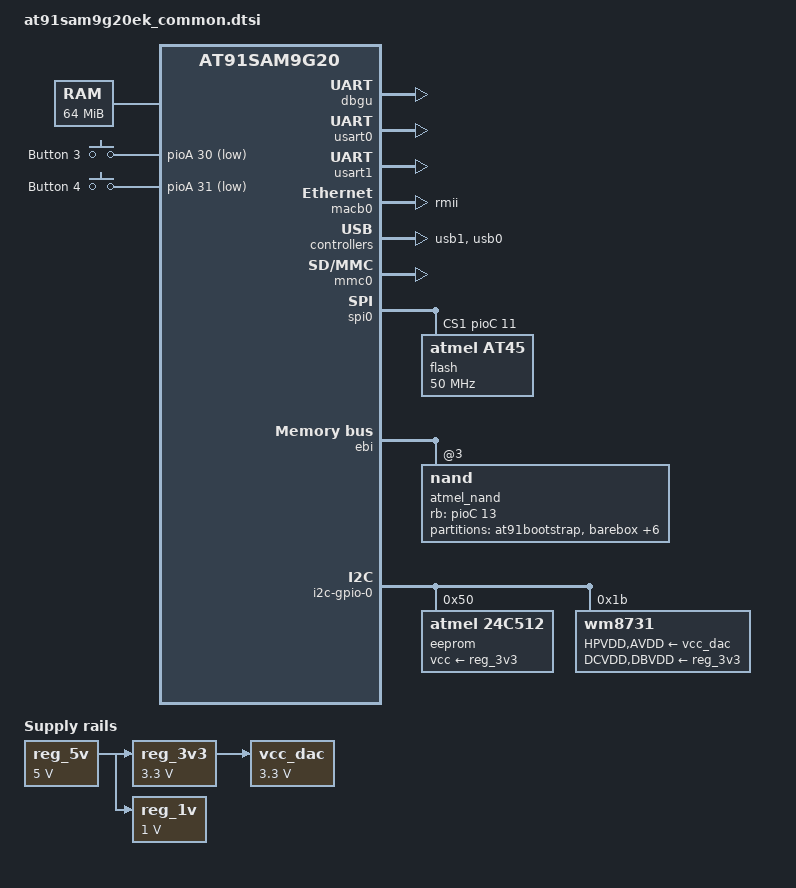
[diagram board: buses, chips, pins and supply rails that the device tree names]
// SPDX-License-Identifier: GPL-2.0-only
/*
 * at91sam9g20ek_common.dtsi - Device Tree file for Atmel at91sam9g20ek board
 *
 * Copyright (C) 2012 Jean-Christophe PLAGNIOL-VILLARD <plagnioj@jcrosoft.com>
 */
#include "at91sam9g20.dtsi"
#include <dt-bindings/input/input.h>

/ {

	chosen {
		bootargs = "mem=64M root=/dev/mtdblock5 rw rootfstype=ubifs";
		stdout-path = "serial0:115200n8";
	};

	memory@20000000 {
		reg = <0x20000000 0x4000000>;
	};

	clocks {
		slow_xtal {
			clock-frequency = <32768>;
		};

		main_xtal {
			clock-frequency = <18432000>;
		};
	};

	ahb {
		apb {
			pinctrl@fffff400 {
				board {
					pinctrl_pck0_as_mck: pck0_as_mck {
						atmel,pins =
							<AT91_PIOC 1 AT91_PERIPH_B AT91_PINCTRL_NONE>;	/* PC1 periph B */
					};

				};

				usb1 {
					pinctrl_usb1_vbus_gpio: usb1_vbus_gpio {
						atmel,pins =
							<AT91_PIOC 5 AT91_PERIPH_GPIO AT91_PINCTRL_DEGLITCH>;	/* PC5 GPIO */
					};
				};

				mmc0_slot1 {
					pinctrl_board_mmc0_slot1: mmc0_slot1-board {
						atmel,pins =
							<AT91_PIOC 9 AT91_PERIPH_GPIO AT91_PINCTRL_PULL_UP_DEGLITCH>;	/* PC9 gpio CD pin pull up and deglitch */
					};
				};
			};

			dbgu: serial@fffff200 {
				status = "okay";
			};

			tcb0: timer@fffa0000 {
				timer@0 {
					compatible = "atmel,tcb-timer";
					reg = <0>, <1>;
				};

				timer@2 {
					compatible = "atmel,tcb-timer";
					reg = <2>;
				};
			};

			usart0: serial@fffb0000 {
				pinctrl-0 =
					<&pinctrl_usart0
					 &pinctrl_usart0_rts
					 &pinctrl_usart0_cts
					 &pinctrl_usart0_dtr_dsr
					 &pinctrl_usart0_dcd
					 &pinctrl_usart0_ri>;
				status = "okay";
			};

			usart1: serial@fffb4000 {
				status = "okay";
			};

			macb0: ethernet@fffc4000 {
				phy-mode = "rmii";
				status = "okay";
			};

			usb1: gadget@fffa4000 {
				pinctrl-0 = <&pinctrl_usb1_vbus_gpio>;
				pinctrl-names = "default";
				atmel,vbus-gpio = <&pioC 5 GPIO_ACTIVE_HIGH>;
				status = "okay";
			};

			mmc0: mmc@fffa8000 {
				pinctrl-0 = <
					&pinctrl_board_mmc0_slot1
					&pinctrl_mmc0_clk
					&pinctrl_mmc0_slot1_cmd_dat0
					&pinctrl_mmc0_slot1_dat1_3>;
				pinctrl-names = "default";
				status = "okay";
				slot@1 {
					reg = <1>;
					bus-width = <4>;
					cd-gpios = <&pioC 9 GPIO_ACTIVE_HIGH>;
				};
			};

			ssc0: ssc@fffbc000 {
				status = "okay";
				pinctrl-0 = <&pinctrl_ssc0_tx>;
			};

			spi0: spi@fffc8000 {
				cs-gpios = <0>, <&pioC 11 0>, <0>, <0>;
				flash@1 {
					compatible = "atmel,at45", "atmel,dataflash";
					spi-max-frequency = <50000000>;
					reg = <1>;
				};
			};

			shdwc: poweroff@fffffd10 {
				atmel,wakeup-counter = <10>;
				atmel,wakeup-rtt-timer;
			};

			rtc@fffffd20 {
				atmel,rtt-rtc-time-reg = <&gpbr 0x0>;
				status = "okay";
			};

			watchdog@fffffd40 {
				status = "okay";
			};

			gpbr: syscon@fffffd50 {
				status = "okay";
			};
		};

		ebi: ebi@10000000 {
			status = "okay";

			nand_controller: nand-controller {
				status = "okay";
				pinctrl-0 = <&pinctrl_nand_cs &pinctrl_nand_rb>;
				pinctrl-names = "default";

				nand@3 {
					reg = <0x3 0x0 0x800000>;
					rb-gpios = <&pioC 13 GPIO_ACTIVE_HIGH>;
					cs-gpios = <&pioC 14 GPIO_ACTIVE_HIGH>;
					nand-bus-width = <8>;
					nand-ecc-mode = "soft";
					nand-on-flash-bbt;
					label = "atmel_nand";

					partitions {
						compatible = "fixed-partitions";
						#address-cells = <1>;
						#size-cells = <1>;

						at91bootstrap@0 {
							label = "at91bootstrap";
							reg = <0x0 0x20000>;
						};

						barebox@20000 {
							label = "barebox";
							reg = <0x20000 0x40000>;
						};

						bareboxenv@60000 {
							label = "bareboxenv";
							reg = <0x60000 0x20000>;
						};

						bareboxenv2@80000 {
							label = "bareboxenv2";
							reg = <0x80000 0x20000>;
						};

						oftree@80000 {
							label = "oftree";
							reg = <0xa0000 0x20000>;
						};

						kernel@a0000 {
							label = "kernel";
							reg = <0xc0000 0x400000>;
						};

						rootfs@4a0000 {
							label = "rootfs";
							reg = <0x4c0000 0x7800000>;
						};

						data@7ca0000 {
							label = "data";
							reg = <0x7cc0000 0x8340000>;
						};
					};
				};
			};
		};

		usb0: ohci@500000 {
			num-ports = <2>;
			status = "okay";
		};
	};

	i2c-gpio-0 {
		status = "okay";

		eeprom@50 {
			compatible = "atmel,24c512";
			reg = <0x50>;
			vcc-supply = <&reg_3v3>;
		};

		wm8731: wm8731@1b {
			compatible = "wm8731";
			reg = <0x1b>;

			/* PCK0 at 12MHz */
			clocks = <&pmc PMC_TYPE_SYSTEM 8>;
			clock-names = "mclk";
			assigned-clocks = <&pmc PMC_TYPE_SYSTEM 8>;
			assigned-clock-rates = <12000000>;

			HPVDD-supply = <&vcc_dac>;
			AVDD-supply = <&vcc_dac>;
			DCVDD-supply = <&reg_3v3>;
			DBVDD-supply = <&reg_3v3>;
		};
	};

	gpio-keys {
		compatible = "gpio-keys";

		button-3 {
			label = "Button 3";
			gpios = <&pioA 30 GPIO_ACTIVE_LOW>;
			linux,code = <0x103>;
			wakeup-source;
		};

		button-4 {
			label = "Button 4";
			gpios = <&pioA 31 GPIO_ACTIVE_LOW>;
			linux,code = <KEY_PROG1>;
			wakeup-source;
		};
	};

	sound {
		compatible = "atmel,at91sam9g20ek-wm8731-audio";
		pinctrl-names = "default";
		pinctrl-0 = <&pinctrl_pck0_as_mck>;

		atmel,model = "wm8731 @ AT91SAMG20EK";

		atmel,audio-routing =
			"Ext Spk", "LHPOUT",
			"Int Mic", "MICIN";

		atmel,ssc-controller = <&ssc0>;
		atmel,audio-codec = <&wm8731>;
	};

	reg_5v: fixedregulator0 {
		compatible = "regulator-fixed";
		regulator-name = "5V";
		regulator-min-microvolt = <5000000>;
		regulator-max-microvolt = <5000000>;
	};

	reg_3v3: fixedregulator1 {
		compatible = "regulator-fixed";
		regulator-name = "3V3";
		vin-supply = <&reg_5v>;
		regulator-min-microvolt = <3300000>;
		regulator-max-microvolt = <3300000>;
	};

	reg_1v: fixedregulator2 {
		compatible = "regulator-fixed";
		regulator-name = "1V";
		vin-supply = <&reg_5v>;
		regulator-min-microvolt = <1000000>;
		regulator-max-microvolt = <1000000>;
	};

	vcc_dac: fixedregulator3 {
		compatible = "regulator-fixed";
		regulator-name = "VCC_DAC";
		vin-supply = <&reg_3v3>;
		regulator-min-microvolt = <3300000>;
		regulator-max-microvolt = <3300000>;
	};
};
